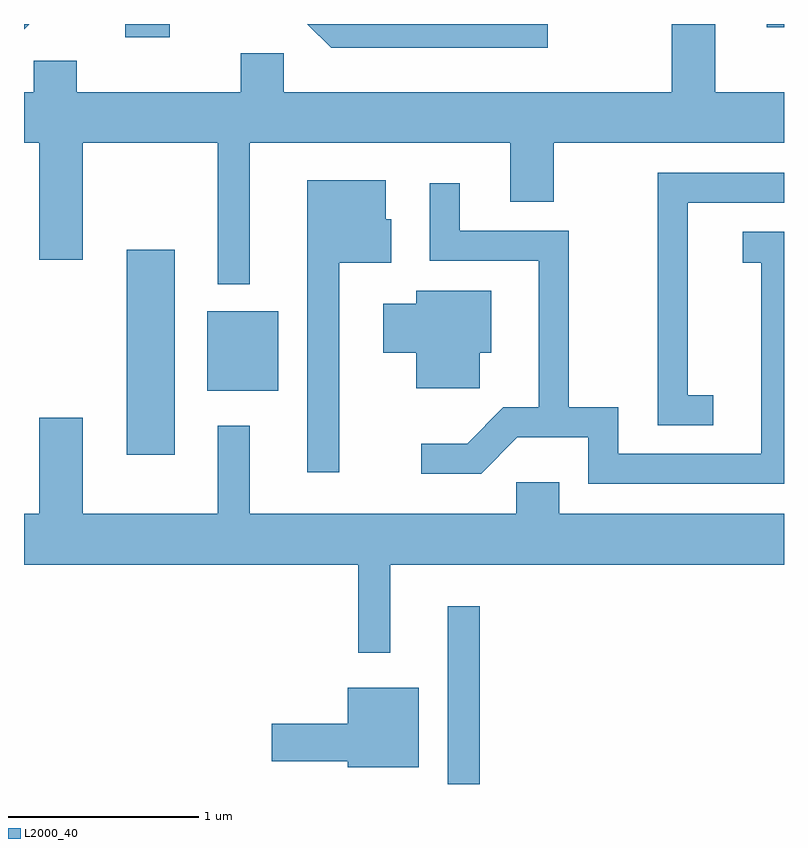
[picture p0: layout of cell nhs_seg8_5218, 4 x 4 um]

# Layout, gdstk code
import gdstk
lib = gdstk.Library(unit=1e-6, precision=1e-09)
def R(c, l, rs):  # rectangles x0, y0, x1, y1
    for r in rs: c.add(gdstk.rectangle(r[:2], r[2:], *l))
def P(c, l, *ps):  # polygons
    for p in ps: c.add(gdstk.Polygon(p, *l))
L2000_40 = (2000, 40)

nhs_seg8_5218 = lib.new_cell('nhs_seg8_5218')
R(nhs_seg8_5218, L2000_40, [(343.841,1866.342,344.009,1867.278), (342.151,1868.076,342.404,1869.154), (342.576,1868.411,342.949,1868.829), (342.143,1870.271,342.379,1870.342), (345.521,1870.326,345.611,1870.342)])
P(nhs_seg8_5218, L2000_40, [(342.799,1869.716),(344.171,1869.716),(344.171,1869.406),(344.399,1869.406),(344.399,1869.716),(345.611,1869.716),(345.611,1869.984),(345.249,1869.984),(345.249,1870.342),(345.021,1870.342),(345.021,1869.984),(342.979,1869.984),(342.979,1870.189),(342.751,1870.189),(342.751,1869.984),(341.889,1869.984),(341.889,1870.149),(341.661,1870.149),(341.661,1869.984),(341.611,1869.984),(341.611,1869.716),(341.691,1869.716),(341.691,1869.101),(341.919,1869.101),(341.919,1869.716),(342.631,1869.716),(342.631,1868.973),(342.799,1868.973)],
  [(344.368,1870.342),(343.103,1870.342),(343.229,1870.216),(344.368,1870.216)],
  [(341.638,1870.342),(341.611,1870.342),(341.611,1870.315)],
  [(345.238,1868.389),(345.104,1868.389),(345.104,1869.401),(345.611,1869.401),(345.611,1869.559),(344.946,1869.559),(344.946,1868.231),(345.238,1868.231)],
  [(343.269,1869.086),(343.544,1869.086),(343.544,1869.314),(343.514,1869.314),(343.514,1869.519),(343.101,1869.519),(343.101,1867.983),(343.269,1867.983)],
  [(345.611,1869.249),(345.393,1869.249),(345.393,1869.086),(345.491,1869.086),(345.491,1868.079),(344.739,1868.079),(344.739,1868.324),(344.479,1868.324),(344.479,1869.254),(343.904,1869.254),(343.904,1869.503),(343.746,1869.503),(343.746,1869.096),(344.321,1869.096),(344.321,1868.324),(344.134,1868.324),(343.944,1868.134),(343.703,1868.134),(343.703,1867.976),(344.017,1867.976),(344.207,1868.166),(344.581,1868.166),(344.581,1867.921),(345.611,1867.921)],
  [(344.009,1868.611),(344.069,1868.611),(344.069,1868.939),(343.676,1868.939),(343.676,1868.869),(343.501,1868.869),(343.501,1868.611),(343.676,1868.611),(343.676,1868.426),(344.009,1868.426)],
  [(343.539,1867.496),(345.611,1867.496),(345.611,1867.764),(344.429,1867.764),(344.429,1867.929),(344.201,1867.929),(344.201,1867.764),(342.799,1867.764),(342.799,1868.228),(342.631,1868.228),(342.631,1867.764),(341.919,1867.764),(341.919,1868.269),(341.691,1868.269),(341.691,1867.764),(341.611,1867.764),(341.611,1867.496),(343.371,1867.496),(343.371,1867.033),(343.539,1867.033)],
  [(343.689,1866.849),(343.316,1866.849),(343.316,1866.659),(342.916,1866.659),(342.916,1866.461),(343.316,1866.461),(343.316,1866.431),(343.689,1866.431)])

lib.write_gds('nhs_seg8_5218.gds')
